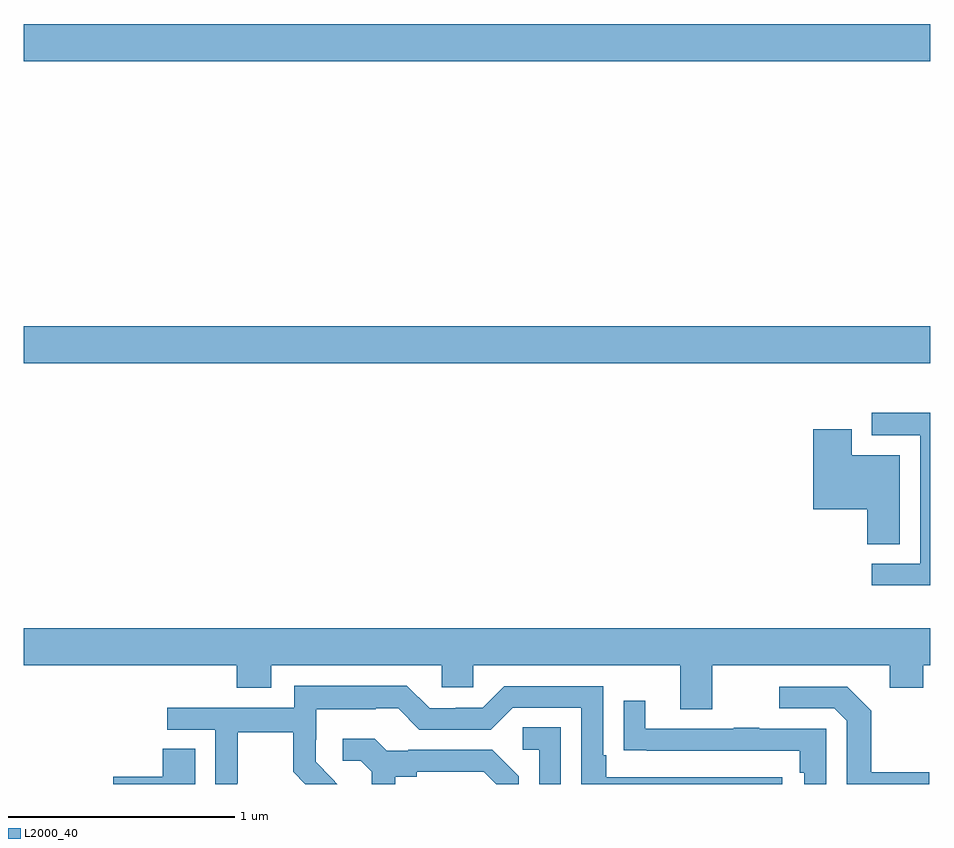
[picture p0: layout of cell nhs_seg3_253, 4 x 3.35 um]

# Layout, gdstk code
import gdstk
lib = gdstk.Library(unit=1e-6, precision=1e-09)
def R(c, l, rs):  # rectangles x0, y0, x1, y1
    for r in rs: c.add(gdstk.rectangle(r[:2], r[2:], *l))
def P(c, l, *ps):  # polygons
    for p in ps: c.add(gdstk.Polygon(p, *l))
L2000_40 = (2000, 40)

nhs_seg3_253 = lib.new_cell('nhs_seg3_253')
R(nhs_seg3_253, L2000_40, [(123,694.256,127,694.42), (123,695.588,127,695.752)])
P(nhs_seg3_253, L2000_40, [(127,694.038),(126.741,694.038),(126.741,693.939),(126.954,693.939),(126.954,693.372),(126.741,693.372),(126.741,693.276),(127,693.276)],
  [(126.865,693.85),(126.652,693.85),(126.652,693.964),(126.482,693.964),(126.482,693.611),(126.722,693.611),(126.722,693.457),(126.865,693.457)],
  [(126.037,692.924),(126.821,692.924),(126.821,692.825),(126.969,692.825),(126.969,692.924),(127,692.924),(127,693.088),(123,693.088),(123,692.924),(123.941,692.924),(123.941,692.825),(124.093,692.825),(124.093,692.924),(124.845,692.924),(124.845,692.826),(124.983,692.826),(124.983,692.924),(125.897,692.924),(125.897,692.73),(126.037,692.73)],
  [(123.942,692.404),(123.945,692.404),(123.945,692.628),(124.189,692.628),(124.189,692.453),(124.242,692.4),(124.384,692.4),(124.361,692.423),(124.362,692.424),(124.288,692.498),(124.288,692.595),(124.29,692.595),(124.29,692.729),(124.553,692.729),(124.553,692.733),(124.653,692.733),(124.746,692.64),(125.061,692.64),(125.157,692.736),(125.46,692.736),(125.46,692.4),(126.346,692.4),(126.346,692.43),(125.569,692.43),(125.569,692.527),(125.556,692.527),(125.556,692.832),(125.121,692.832),(125.025,692.736),(124.907,692.736),(124.907,692.733),(124.791,692.733),(124.691,692.833),(124.194,692.833),(124.194,692.736),(123.633,692.736),(123.633,692.64),(123.846,692.64),(123.846,692.4),(123.942,692.4)],
  [(126.995,692.451),(126.739,692.451),(126.739,692.723),(126.633,692.829),(126.333,692.829),(126.333,692.733),(126.576,692.733),(126.63,692.679),(126.63,692.4),(126.995,692.4)],
  [(126.54,692.643),(126.245,692.643),(126.245,692.648),(126.133,692.648),(126.133,692.643),(125.743,692.643),(125.743,692.767),(125.647,692.767),(125.647,692.548),(125.749,692.548),(125.749,692.547),(126.424,692.547),(126.424,692.45),(126.444,692.45),(126.444,692.4),(126.54,692.4)],
  [(125.37,692.651),(125.202,692.651),(125.202,692.55),(125.274,692.55),(125.274,692.4),(125.37,692.4)],
  [(124.639,692.432),(124.735,692.432),(124.735,692.454),(125.03,692.454),(125.084,692.4),(125.184,692.4),(125.184,692.434),(125.068,692.55),(124.696,692.55),(124.696,692.547),(124.602,692.547),(124.55,692.599),(124.407,692.599),(124.407,692.502),(124.488,692.502),(124.535,692.455),(124.535,692.4),(124.639,692.4)],
  [(123.757,692.555),(123.614,692.555),(123.614,692.432),(123.396,692.432),(123.396,692.4),(123.757,692.4)])

lib.write_gds('nhs_seg3_253.gds')
